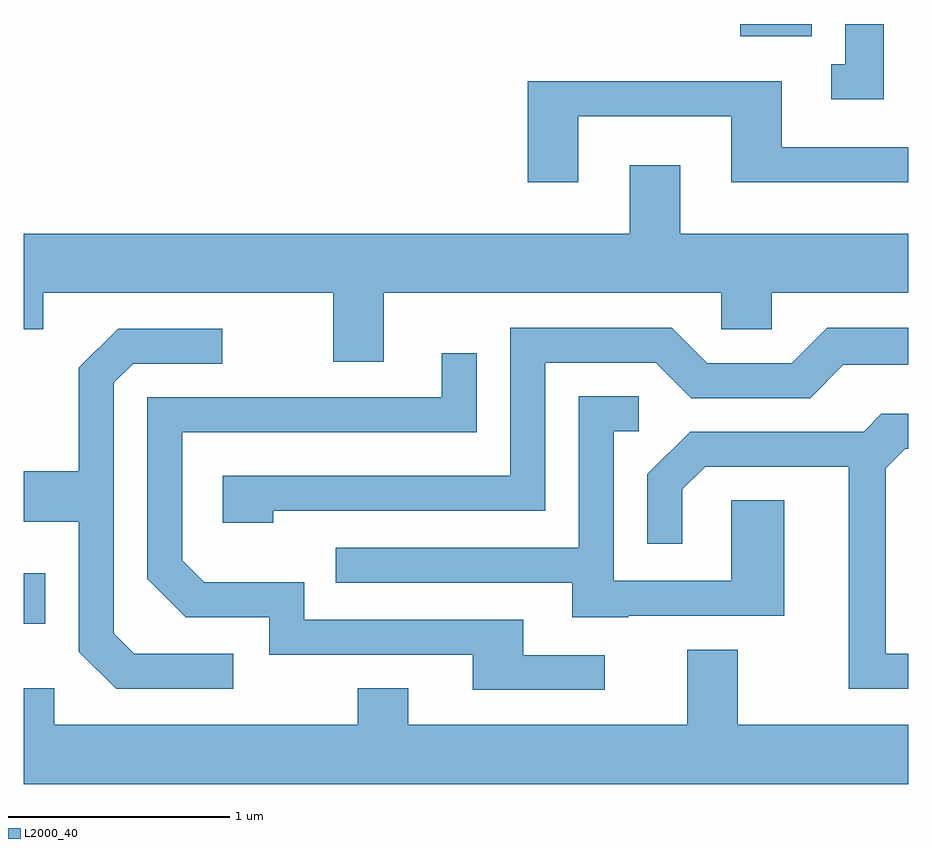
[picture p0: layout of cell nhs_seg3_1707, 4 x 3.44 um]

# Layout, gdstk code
import gdstk
lib = gdstk.Library(unit=1e-6, precision=1e-09)
def R(c, l, rs):  # rectangles x0, y0, x1, y1
    for r in rs: c.add(gdstk.rectangle(r[:2], r[2:], *l))
def P(c, l, *ps):  # polygons
    for p in ps: c.add(gdstk.Polygon(p, *l))
L2000_40 = (2000, 40)

nhs_seg3_1707 = lib.new_cell('nhs_seg3_1707')
R(nhs_seg3_1707, L2000_40, [(235.611,1131.181,235.709,1131.409), (238.851,1133.836,239.174,1133.892)])
P(nhs_seg3_1707, L2000_40, [(239.499,1133.892),(239.326,1133.892),(239.326,1133.709),(239.263,1133.709),(239.263,1133.551),(239.499,1133.551)],
  [(238.119,1133.476),(238.811,1133.476),(238.811,1133.176),(239.611,1133.176),(239.611,1133.334),(239.039,1133.334),(239.039,1133.634),(237.891,1133.634),(237.891,1133.176),(238.119,1133.176)],
  [(237.239,1132.676),(238.766,1132.676),(238.766,1132.511),(238.994,1132.511),(238.994,1132.676),(239.611,1132.676),(239.611,1132.944),(238.579,1132.944),(238.579,1133.254),(238.351,1133.254),(238.351,1132.944),(235.611,1132.944),(235.611,1132.511),(235.699,1132.511),(235.699,1132.676),(237.011,1132.676),(237.011,1132.366),(237.239,1132.366)],
  [(236.739,1131.691),(237.969,1131.691),(237.969,1132.361),(238.469,1132.361),(238.629,1132.201),(239.167,1132.201),(239.317,1132.351),(239.611,1132.351),(239.611,1132.519),(239.244,1132.519),(239.084,1132.359),(238.702,1132.359),(238.542,1132.519),(237.811,1132.519),(237.811,1131.849),(236.511,1131.849),(236.511,1131.636),(236.739,1131.636)],
  [(236.558,1131.044),(236.112,1131.044),(236.019,1131.137),(236.019,1132.269),(236.107,1132.356),(236.508,1132.356),(236.508,1132.514),(236.039,1132.514),(235.861,1132.337),(235.861,1131.869),(235.611,1131.869),(235.611,1131.641),(235.861,1131.641),(235.861,1131.054),(236.029,1130.886),(236.558,1130.886)],
  [(238.238,1131.039),(237.869,1131.039),(237.869,1131.199),(236.879,1131.199),(236.879,1131.369),(236.427,1131.369),(236.329,1131.467),(236.329,1132.046),(237.659,1132.046),(237.659,1132.403),(237.501,1132.403),(237.501,1132.204),(236.171,1132.204),(236.171,1131.384),(236.344,1131.211),(236.721,1131.211),(236.721,1131.041),(237.641,1131.041),(237.641,1130.881),(238.238,1130.881)],
  [(238.345,1131.216),(239.049,1131.216),(239.049,1131.739),(238.811,1131.739),(238.811,1131.374),(238.279,1131.374),(238.279,1132.051),(238.393,1132.051),(238.393,1132.209),(238.121,1132.209),(238.121,1131.524),(237.023,1131.524),(237.023,1131.366),(238.091,1131.366),(238.091,1131.211),(238.345,1131.211)],
  [(239.611,1131.044),(239.509,1131.044),(239.509,1131.884),(239.597,1131.971),(239.611,1131.971),(239.611,1132.129),(239.489,1132.129),(239.409,1132.049),(238.624,1132.049),(238.431,1131.857),(238.431,1131.543),(238.589,1131.543),(238.589,1131.789),(238.692,1131.891),(239.341,1131.891),(239.341,1130.886),(239.611,1130.886)],
  [(239.611,1130.724),(238.839,1130.724),(238.839,1131.064),(238.611,1131.064),(238.611,1130.724),(237.349,1130.724),(237.349,1130.889),(237.121,1130.889),(237.121,1130.724),(235.749,1130.724),(235.749,1130.889),(235.611,1130.889),(235.611,1130.456),(239.611,1130.456)])

lib.write_gds('nhs_seg3_1707.gds')
